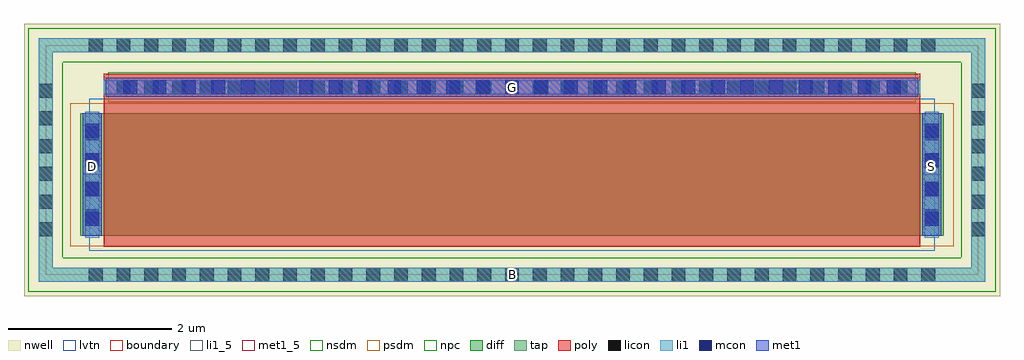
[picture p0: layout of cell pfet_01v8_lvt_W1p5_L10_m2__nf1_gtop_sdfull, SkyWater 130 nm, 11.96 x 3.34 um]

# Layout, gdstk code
import gdstk
lib = gdstk.Library(unit=1e-6, precision=1e-09)
def R(c, l, rs):  # rectangles x0, y0, x1, y1
    for r in rs: c.add(gdstk.rectangle(r[:2], r[2:], *l))
def A(c, l, x, y, w, h, nx, ny, dx, dy):  # array of equal rectangles
    R(c, l, [(x+i*dx, y+j*dy, x+i*dx+w, y+j*dy+h) for i in range(nx) for j in range(ny)])
nwell = (64, 20)
diff = (65, 20)
tap = (65, 44)
poly = (66, 20)
licon = (66, 44)
li1_5 = (67, 5)
li1 = (67, 20)
mcon = (67, 44)
met1_5 = (68, 5)
met1 = (68, 20)
nsdm = (93, 44)
psdm = (94, 20)
npc = (95, 20)
lvtn = (125, 44)
boundary = (235, 4)

sky130_fd_pr__pfet_01v8_ = lib.new_cell('sky130_fd_pr__pfet_01v8_lvt_Q2WRLG')
R(sky130_fd_pr__pfet_01v8_, nwell, [(-5.98,-1.67,5.98,1.67)])
R(sky130_fd_pr__pfet_01v8_, diff, [(-5.29,-0.93,5.29,0.57)])
R(sky130_fd_pr__pfet_01v8_, tap, [(-5.8,-1.49,5.8,-1.32), (-5.8,-1.32,-5.63,1.32), (5.63,-1.32,5.8,1.32), (-5.8,1.32,5.8,1.49)])
R(sky130_fd_pr__pfet_01v8_, poly, [(-5,-1.06,5,1.055)])
A(sky130_fd_pr__pfet_01v8_, licon, -5.185, -1.49, 0.17, 0.17, 31, 2, 0.34, 2.81)
A(sky130_fd_pr__pfet_01v8_, licon, -5.8, -0.935, 0.17, 0.17, 1, 6, 0, 0.34)
A(sky130_fd_pr__pfet_01v8_, licon, 5.63, -0.935, 0.17, 0.17, 1, 6, 0, 0.34)
A(sky130_fd_pr__pfet_01v8_, licon, -5.23, -0.775, 0.17, 0.17, 1, 4, 0, 0.34)
A(sky130_fd_pr__pfet_01v8_, licon, 5.06, -0.775, 0.17, 0.17, 1, 4, 0, 0.34)
A(sky130_fd_pr__pfet_01v8_, licon, -4.845, 0.805, 0.17, 0.17, 29, 1, 0.34, 0)
R(sky130_fd_pr__pfet_01v8_, li1, [(-5.8,-1.49,5.8,-1.32), (-5.8,-1.32,-5.63,1.32), (5.63,-1.32,5.8,1.32), (-5.23,-0.95,-5.06,0.59), (5.06,-0.95,5.23,0.59), (-5,0.805,5,0.975), (-5.8,1.32,5.8,1.49)])
A(sky130_fd_pr__pfet_01v8_, mcon, -5.23, -0.805, 0.17, 0.17, 1, 4, 0, 0.36)
A(sky130_fd_pr__pfet_01v8_, mcon, 5.06, -0.805, 0.17, 0.17, 1, 4, 0, 0.36)
A(sky130_fd_pr__pfet_01v8_, mcon, -4.765, 0.805, 0.17, 0.17, 27, 1, 0.36, 0)
R(sky130_fd_pr__pfet_01v8_, met1, [(-5.26,-0.93,-5.03,0.57), (5.03,-0.93,5.26,0.57), (-4.98,0.775,4.98,1.005)])
R(sky130_fd_pr__pfet_01v8_, nsdm, [(-5.925,-1.615,5.925,-1.195), (-5.925,-1.195,-5.505,1.195), (5.505,-1.195,5.925,1.195), (-5.925,1.195,5.925,1.615)])
R(sky130_fd_pr__pfet_01v8_, psdm, [(-5.415,-1.055,5.415,0.695)])
R(sky130_fd_pr__pfet_01v8_, npc, [(-4.945,0.705,4.945,1.075)])
R(sky130_fd_pr__pfet_01v8_, lvtn, [(-5.18,-1.11,5.18,0.75)])
R(sky130_fd_pr__pfet_01v8_, boundary, [(-5.715,-1.405,5.715,1.405)])
sky130_fd_pr__pfet_01v8_.add(gdstk.Label('B', (0,-1.405), layer=67, texttype=5))
sky130_fd_pr__pfet_01v8_.add(gdstk.Label('D', (-5.145,-0.18), layer=67, texttype=5))
sky130_fd_pr__pfet_01v8_.add(gdstk.Label('S', (5.145,-0.18), layer=67, texttype=5))
sky130_fd_pr__pfet_01v8_.add(gdstk.Label('G', (0,0.89), layer=67, texttype=5))

pfet_01v8_lvt_w1p5_l10_m = lib.new_cell('pfet_01v8_lvt_W1p5_L10_m2__nf1_gtop_sdfull')
R(pfet_01v8_lvt_w1p5_l10_m, li1_5, [(5.63,-0.085,5.8,0.085)])
R(pfet_01v8_lvt_w1p5_l10_m, li1, [(5.63,-0.085,5.8,0.085)])
R(pfet_01v8_lvt_w1p5_l10_m, met1_5, [(0.455,1.225,0.685,1.425), (10.745,1.225,10.975,1.425), (0.735,2.18,10.695,2.41)])
R(pfet_01v8_lvt_w1p5_l10_m, met1, [(0.455,1.225,0.685,1.425), (10.745,1.225,10.975,1.425), (0.735,2.18,10.695,2.41)])
pfet_01v8_lvt_w1p5_l10_m.add(gdstk.Reference(sky130_fd_pr__pfet_01v8_, (5.715,1.405)))
pfet_01v8_lvt_w1p5_l10_m.add(gdstk.Label('D', (0.57,1.325), layer=68, texttype=5))
pfet_01v8_lvt_w1p5_l10_m.add(gdstk.Label('S', (10.86,1.325), layer=68, texttype=5))
pfet_01v8_lvt_w1p5_l10_m.add(gdstk.Label('G', (5.715,2.295), layer=68, texttype=5))
pfet_01v8_lvt_w1p5_l10_m.add(gdstk.Label('B', (5.715,0), layer=67, texttype=5))

lib.write_gds('pfet_01v8_lvt_W1p5_L10_m2__nf1_gtop_sdfull.gds')
